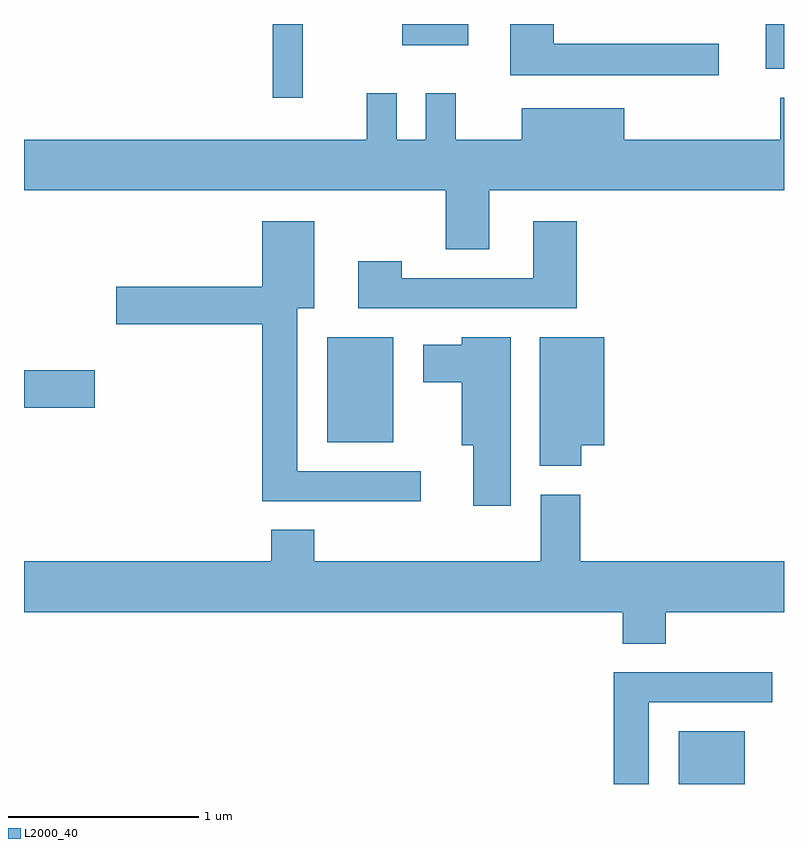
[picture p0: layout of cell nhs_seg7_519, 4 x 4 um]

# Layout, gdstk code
import gdstk
lib = gdstk.Library(unit=1e-6, precision=1e-09)
def R(c, l, rs):  # rectangles x0, y0, x1, y1
    for r in rs: c.add(gdstk.rectangle(r[:2], r[2:], *l))
def P(c, l, *ps):  # polygons
    for p in ps: c.add(gdstk.Polygon(p, *l))
L2000_40 = (2000, 40)

nhs_seg7_519 = lib.new_cell('nhs_seg7_519')
R(nhs_seg7_519, L2000_40, [(203.056,1762.252,203.404,1762.529), (201.206,1764.051,201.554,1764.604), (199.611,1764.231,199.984,1764.429), (200.921,1765.863,201.079,1766.252), (203.516,1766.016,203.611,1766.252), (201.601,1766.141,201.948,1766.252)])
P(nhs_seg7_519, L2000_40, [(203.268,1766.149),(202.399,1766.149),(202.399,1766.252),(202.171,1766.252),(202.171,1765.981),(203.268,1765.981)],
  [(202.059,1765.376),(203.611,1765.376),(203.611,1765.864),(203.591,1765.864),(203.591,1765.644),(202.769,1765.644),(202.769,1765.809),(202.231,1765.809),(202.231,1765.644),(201.884,1765.644),(201.884,1765.888),(201.726,1765.888),(201.726,1765.644),(201.574,1765.644),(201.574,1765.888),(201.416,1765.888),(201.416,1765.644),(199.611,1765.644),(199.611,1765.376),(201.831,1765.376),(201.831,1765.066),(202.059,1765.066)],
  [(202.519,1765.214),(202.291,1765.214),(202.291,1764.914),(201.599,1764.914),(201.599,1765.004),(201.371,1765.004),(201.371,1764.756),(202.519,1764.756)],
  [(201.698,1763.899),(201.049,1763.899),(201.049,1764.756),(201.139,1764.756),(201.139,1765.214),(200.866,1765.214),(200.866,1764.869),(200.096,1764.869),(200.096,1764.671),(200.866,1764.671),(200.866,1763.741),(201.698,1763.741)],
  [(202.544,1764.036),(202.664,1764.036),(202.664,1764.604),(202.326,1764.604),(202.326,1763.926),(202.544,1763.926)],
  [(202.174,1764.604),(201.916,1764.604),(201.916,1764.564),(201.711,1764.564),(201.711,1764.366),(201.916,1764.366),(201.916,1764.036),(201.976,1764.036),(201.976,1763.716),(202.174,1763.716)],
  [(202.989,1763.156),(203.611,1763.156),(203.611,1763.424),(202.539,1763.424),(202.539,1763.774),(202.331,1763.774),(202.331,1763.424),(201.139,1763.424),(201.139,1763.589),(200.911,1763.589),(200.911,1763.424),(199.611,1763.424),(199.611,1763.156),(202.761,1763.156),(202.761,1762.991),(202.989,1762.991)],
  [(202.899,1762.681),(203.548,1762.681),(203.548,1762.839),(202.716,1762.839),(202.716,1762.252),(202.899,1762.252)])

lib.write_gds('nhs_seg7_519.gds')
